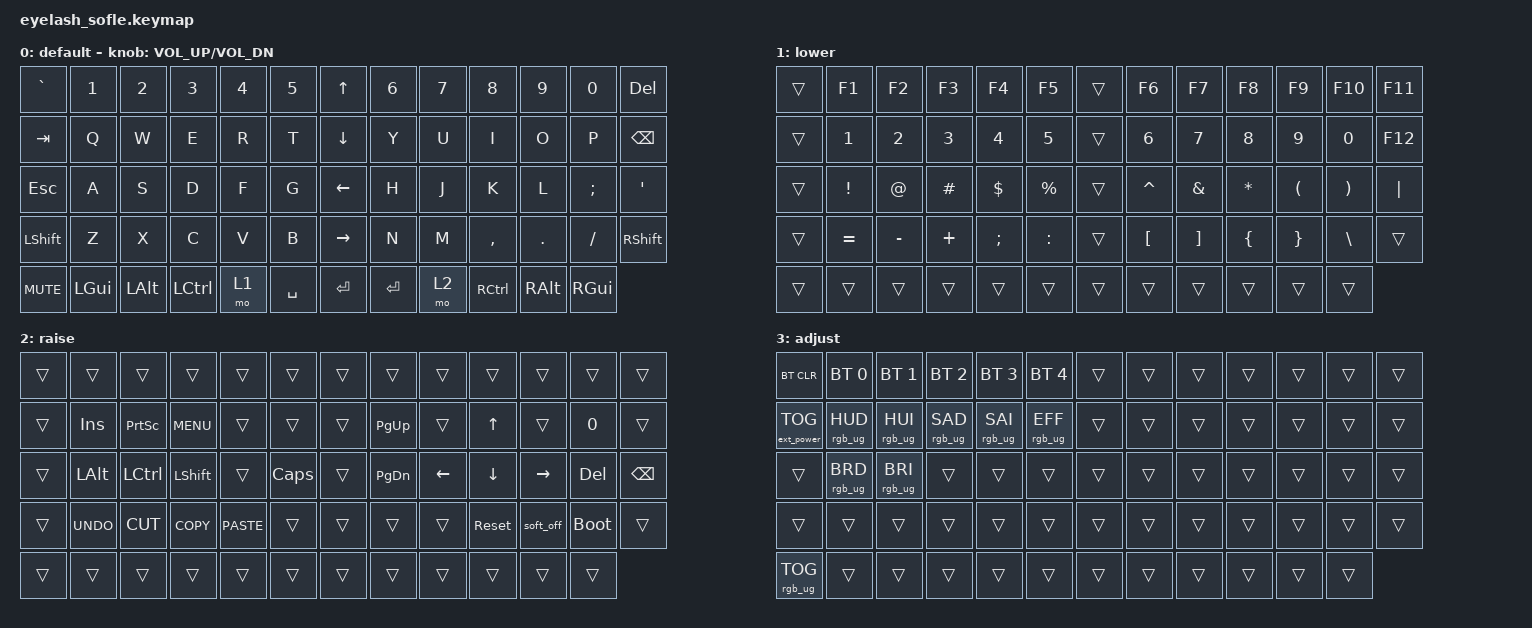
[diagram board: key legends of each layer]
#define ZMK_POINTING_DEFAULT_MOVE_VAL 1200  // 600
#define ZMK_POINTING_DEFAULT_SCRL_VAL 25   // 10

#include <input/processors.dtsi>
#include <zephyr/dt-bindings/input/input-event-codes.h>
#include <behaviors.dtsi>
#include <dt-bindings/zmk/bt.h>
#include <dt-bindings/zmk/ext_power.h>
#include <dt-bindings/zmk/keys.h>
#include <dt-bindings/zmk/pointing.h>
#include <dt-bindings/zmk/rgb.h>

&mmv_input_listener { input-processors = <&zip_xy_scaler 2 1>; };

&msc_input_listener { input-processors = <&zip_scroll_scaler 2 1>; };

&msc {
    acceleration-exponent = <1>;      // 0
    time-to-max-speed-ms = <100>;       // 300
    delay-ms = <0>;                   // 0
};

&mmv {
    time-to-max-speed-ms = <500>;
    acceleration-exponent = <1>;
    trigger-period-ms = <16>;
};

/ {
    scroll_encoder: scroll_encoder {
        compatible = "zmk,behavior-sensor-rotate";
        #sensor-binding-cells = <0>;
        bindings = <&msc SCRL_DOWN>, <&msc SCRL_UP>;

        tap-ms = <100>;
    };

    behaviors {
    };

    keymap {
        compatible = "zmk,keymap";

        default {
            bindings = <
&kp GRAVE   &kp N1        &kp N2        &kp N3            &kp N4  &kp N5       &kp UP_ARROW     &kp N6      &kp N7  &kp N8             &kp N9         &kp N0         &kp DELETE
&kp TAB     &kp Q         &kp W         &kp E             &kp R   &kp T        &kp DOWN_ARROW   &kp Y       &kp U   &kp I              &kp O          &kp P          &kp BACKSPACE
&kp ESC     &kp A         &kp S         &kp D             &kp F   &kp G        &kp LEFT_ARROW   &kp H       &kp J   &kp K              &kp L          &kp SEMI       &kp APOS
&kp LSHFT   &kp Z         &kp X         &kp C             &kp V   &kp B        &kp RIGHT_ARROW  &kp N       &kp M   &kp COMMA          &kp DOT        &kp FSLH       &kp RIGHT_SHIFT
&kp C_MUTE  &kp LEFT_GUI  &kp LEFT_ALT  &kp LEFT_CONTROL  &mo 1   &kp SPACE    &kp ENTER        &kp RETURN  &mo 2   &kp RIGHT_CONTROL  &kp RIGHT_ALT  &kp RIGHT_GUI
            >;

            sensor-bindings = <&inc_dec_kp C_VOLUME_UP C_VOL_DN>;
            display-name = "default";
        };

        lower {
            bindings = <
&trans  &kp F1           &kp F2        &kp F3        &kp F4         &kp F5         &trans  &kp F6            &kp F7             &kp F8          &kp F9                &kp F10                &kp F11
&trans  &kp NUMBER_1     &kp NUMBER_2  &kp NUMBER_3  &kp NUMBER_4   &kp N5         &trans  &kp NUMBER_6      &kp NUMBER_7       &kp NUMBER_8    &kp NUMBER_9          &kp NUMBER_0           &kp F12
&trans  &kp EXCLAMATION  &kp AT_SIGN   &kp HASH      &kp DOLLAR     &kp PERCENT    &trans  &kp CARET         &kp AMPERSAND      &kp ASTERISK    &kp LEFT_PARENTHESIS  &kp RIGHT_PARENTHESIS  &kp PIPE
&trans  &kp EQUAL        &kp MINUS     &kp PLUS      &kp SEMICOLON  &kp COLON      &trans  &kp LEFT_BRACKET  &kp RIGHT_BRACKET  &kp LEFT_BRACE  &kp RIGHT_BRACE       &kp BACKSLASH          &trans
&trans  &trans           &trans        &trans        &trans         &trans         &trans  &trans            &trans             &trans          &trans                &trans
            >;

            display-name = "lower";
        };

        raise {
            bindings = <
&trans  &trans        &trans            &trans          &trans       &trans      &trans  &trans         &trans          &trans          &trans           &trans        &trans
&trans  &kp INSERT    &kp PRINTSCREEN   &kp C_MENU      &trans       &trans      &trans  &kp PAGE_UP    &trans          &kp UP_ARROW    &trans           &kp NUMBER_0  &trans
&trans  &kp LEFT_ALT  &kp LEFT_CONTROL  &kp LEFT_SHIFT  &trans       &kp CLCK    &trans  &kp PAGE_DOWN  &kp LEFT_ARROW  &kp DOWN_ARROW  &kp RIGHT_ARROW  &kp DELETE    &kp BACKSPACE
&trans  &kp K_UNDO    &kp K_CUT         &kp K_COPY      &kp K_PASTE  &trans      &trans  &trans         &trans          &sys_reset      &soft_off        &bootloader   &trans
&trans  &trans        &trans            &trans          &trans       &trans      &trans  &trans         &trans          &trans          &trans           &trans
            >;

            label = "raise";
        };

        adjust {
            bindings = <
&bt BT_CLR         &bt BT_SEL 0     &bt BT_SEL 1     &bt BT_SEL 2     &bt BT_SEL 3     &bt BT_SEL 4       &trans  &trans  &trans  &trans  &trans  &trans  &trans
&ext_power EP_TOG  &rgb_ug RGB_HUD  &rgb_ug RGB_HUI  &rgb_ug RGB_SAD  &rgb_ug RGB_SAI  &rgb_ug RGB_EFF    &trans  &trans  &trans  &trans  &trans  &trans  &trans
&trans             &rgb_ug RGB_BRD  &rgb_ug RGB_BRI  &trans           &trans           &trans             &trans  &trans  &trans  &trans  &trans  &trans  &trans
&trans             &trans           &trans           &trans           &trans           &trans             &trans  &trans  &trans  &trans  &trans  &trans  &trans
&rgb_ug RGB_TOG    &trans           &trans           &trans           &trans           &trans             &trans  &trans  &trans  &trans  &trans  &trans
            >;

            label = "adjust";
        };
    };

    conditional_layers {
        compatible = "zmk,conditional-layers";

        adjust {
            if-layers = <1 2>;
            then-layer = <3>;
        };
    };
};
